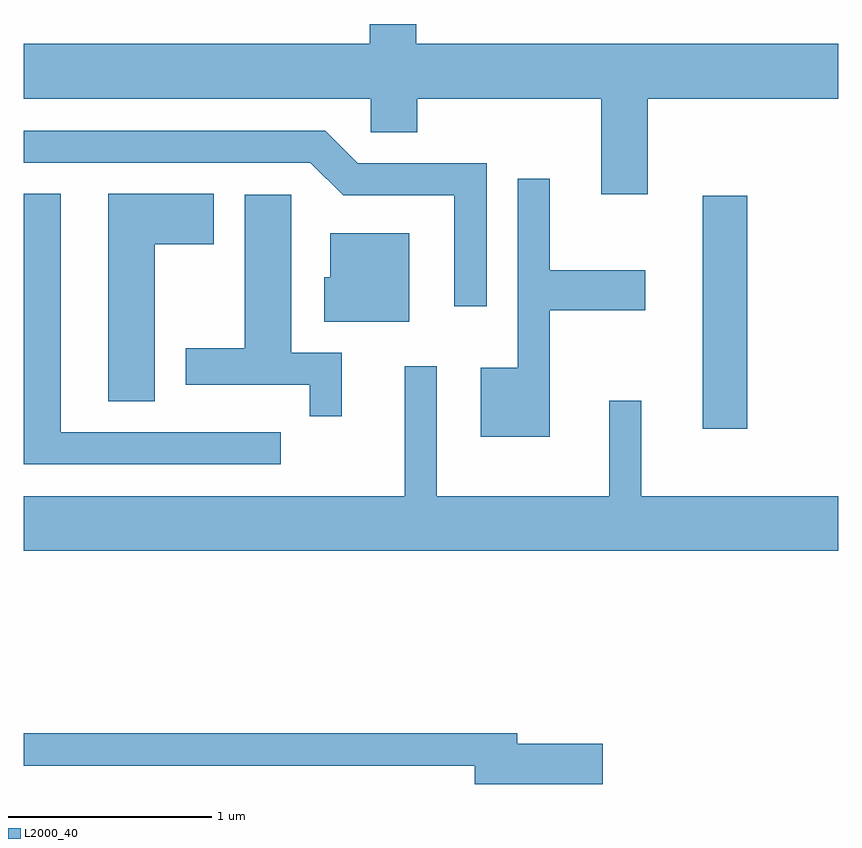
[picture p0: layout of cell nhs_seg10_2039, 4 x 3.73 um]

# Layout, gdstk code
import gdstk
lib = gdstk.Library(unit=1e-6, precision=1e-09)
def R(c, l, rs):  # rectangles x0, y0, x1, y1
    for r in rs: c.add(gdstk.rectangle(r[:2], r[2:], *l))
def P(c, l, *ps):  # polygons
    for p in ps: c.add(gdstk.Polygon(p, *l))
L2000_40 = (2000, 40)

nhs_seg10_2039 = lib.new_cell('nhs_seg10_2039')
R(nhs_seg10_2039, L2000_40, [(248.946,2094.536,249.164,2095.679)])
P(nhs_seg10_2039, L2000_40, [(248.674,2096.156),(249.611,2096.156),(249.611,2096.424),(247.539,2096.424),(247.539,2096.522),(247.311,2096.522),(247.311,2096.424),(245.611,2096.424),(245.611,2096.156),(247.316,2096.156),(247.316,2095.991),(247.544,2095.991),(247.544,2096.156),(248.446,2096.156),(248.446,2095.686),(248.674,2095.686)],
  [(247.884,2095.839),(247.252,2095.839),(247.092,2095.999),(245.611,2095.999),(245.611,2095.841),(247.019,2095.841),(247.179,2095.681),(247.726,2095.681),(247.726,2095.137),(247.884,2095.137)],
  [(248.194,2095.116),(248.664,2095.116),(248.664,2095.314),(248.194,2095.314),(248.194,2095.762),(248.036,2095.762),(248.036,2094.834),(247.856,2094.834),(247.856,2094.496),(248.194,2094.496)],
  [(246.254,2095.441),(246.544,2095.441),(246.544,2095.689),(246.026,2095.689),(246.026,2094.671),(246.254,2094.671)],
  [(246.873,2094.519),(245.794,2094.519),(245.794,2095.689),(245.611,2095.689),(245.611,2094.361),(246.873,2094.361)],
  [(247.174,2094.909),(246.924,2094.909),(246.924,2095.684),(246.696,2095.684),(246.696,2094.929),(246.406,2094.929),(246.406,2094.751),(247.016,2094.751),(247.016,2094.597),(247.174,2094.597)],
  [(247.504,2095.494),(247.116,2095.494),(247.116,2095.279),(247.086,2095.279),(247.086,2095.061),(247.504,2095.061)],
  [(247.481,2094.843),(247.481,2094.204),(245.611,2094.204),(245.611,2093.936),(249.611,2093.936),(249.611,2094.204),(248.644,2094.204),(248.644,2094.673),(248.486,2094.673),(248.486,2094.204),(247.639,2094.204),(247.639,2094.843)],
  [(248.454,2092.989),(248.034,2092.989),(248.034,2093.039),(245.611,2093.039),(245.611,2092.881),(247.826,2092.881),(247.826,2092.791),(248.454,2092.791)])

lib.write_gds('nhs_seg10_2039.gds')
